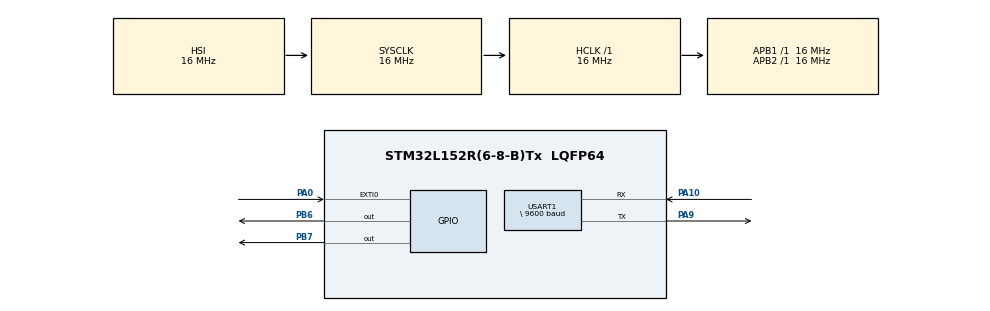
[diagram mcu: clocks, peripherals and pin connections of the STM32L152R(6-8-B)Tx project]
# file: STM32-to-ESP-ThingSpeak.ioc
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ADC.Channel-1\#ChannelRegularConversion=ADC_CHANNEL_TEMPSENSOR
ADC.ClockPrescaler=ADC_CLOCK_ASYNC_DIV2
ADC.ContinuousConvMode=DISABLE
ADC.EOCSelection=ADC_EOC_SINGLE_CONV
ADC.ExternalTrigConv=ADC_SOFTWARE_START
ADC.NbrOfConversion=1
ADC.NbrOfConversionFlag=1
ADC.Rank-1\#ChannelRegularConversion=1
ADC.SamplingTime-1\#ChannelRegularConversion=ADC_SAMPLETIME_192CYCLES
ADC.ScanConvMode=ADC_SCAN_DISABLE
Dma.ADC.0.Direction=DMA_PERIPH_TO_MEMORY
Dma.ADC.0.Instance=DMA1_Channel1
Dma.ADC.0.MemDataAlignment=DMA_MDATAALIGN_WORD
Dma.ADC.0.MemInc=DMA_MINC_ENABLE
Dma.ADC.0.Mode=DMA_NORMAL
Dma.ADC.0.PeriphDataAlignment=DMA_PDATAALIGN_WORD
Dma.ADC.0.PeriphInc=DMA_PINC_DISABLE
Dma.ADC.0.Priority=DMA_PRIORITY_LOW
Dma.Request0=ADC
Dma.Request1=USART1_TX
Dma.USART1_TX.1.Direction=DMA_MEMORY_TO_PERIPH
Dma.USART1_TX.1.Instance=DMA1_Channel4
Dma.USART1_TX.1.MemDataAlignment=DMA_MDATAALIGN_BYTE
Dma.USART1_TX.1.MemInc=DMA_MINC_ENABLE
Dma.USART1_TX.1.Mode=DMA_NORMAL
Dma.USART1_TX.1.PeriphDataAlignment=DMA_PDATAALIGN_BYTE
Dma.USART1_TX.1.PeriphInc=DMA_PINC_DISABLE
Dma.USART1_TX.1.Priority=DMA_PRIORITY_LOW
Mcu.Family=STM32L1
Mcu.Name=STM32L152R(6-8-B)Tx
Mcu.Package=LQFP64
NVIC.ADC1_IRQn=true\:0\:0\:true\:false\:true\:true\:true\:true
NVIC.DMA1_Channel1_IRQn=true\:0\:0\:false\:false\:true\:false\:true\:true
NVIC.DMA1_Channel4_IRQn=true\:0\:0\:false\:false\:true\:false\:true\:true
NVIC.EXTI0_IRQn=true\:0\:0\:true\:false\:true\:true\:true\:true
NVIC.PriorityGroup=NVIC_PRIORITYGROUP_0
NVIC.TIM6_IRQn=true\:0\:0\:false\:false\:true\:true\:true\:true
NVIC.USART1_IRQn=true\:0\:0\:true\:false\:true\:true\:true\:true
PA0-WKUP1.GPIO_PuPd=GPIO_NOPULL
PA0-WKUP1.Signal=GPXTI0
PA10.GPIO_PuPd=GPIO_PULLUP
PA10.Mode=Asynchronous
PA10.Signal=USART1_RX
PA9.GPIO_PuPd=GPIO_PULLUP
PA9.Mode=Asynchronous
PA9.Signal=USART1_TX
PB6.GPIO_PuPd=GPIO_NOPULL
PB6.Signal=GPIO_Output
PB7.Signal=GPIO_Output
ProjectManager.HeapSize=0x200
ProjectManager.StackSize=0x400
ProjectManager.TargetToolchain=STM32CubeIDE
RCC.48MHZClocksFreq_Value=24000000
RCC.AHBFreq_Value=16000000
RCC.APB1Freq_Value=16000000
RCC.APB1TimFreq_Value=16000000
RCC.APB2Freq_Value=16000000
RCC.APB2TimFreq_Value=16000000
RCC.HCLKFreq_Value=16000000
RCC.HSE_VALUE=8000000
RCC.HSI_VALUE=16000000
RCC.LSE_VALUE=32768
RCC.MSI_VALUE=2097000
RCC.PLLDIV=RCC_PLL_DIV3
RCC.RTCClockSelectionVirtual=RCC_RTCCLKSOURCE_LSE
RCC.SYSCLKFreq_VALUE=16000000
RCC.SYSCLKSource=RCC_SYSCLKSOURCE_HSI
RCC.USBOutput=48000000
RCC.VCOOutputFreq_Value=48000000
TIM6.AutoReloadPreload=TIM_AUTORELOAD_PRELOAD_ENABLE
TIM6.Period=42652
TIM6.Prescaler=3000
TIM6.TIM_MasterOutputTrigger=TIM_TRGO_UPDATE
USART1.BaudRate=\ 9600
USART1.Mode=MODE_TX
USART1.OverSampling=UART_OVERSAMPLING_8
USART1.VirtualMode=VM_ASYNC
USART1.WordLength=WORDLENGTH_8B
VP_ADC_TempSens_Input.Mode=IN-TempSens
VP_TIM6_VS_ClockSourceINT.Mode=Enable_Timer
board=STM32L-DISCOVERY

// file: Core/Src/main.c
/* USER CODE BEGIN Header */
/**
  ******************************************************************************
  * @file           : main.c
  * @brief          : Main program body
  ******************************************************************************
  * @attention
  *
  * Copyright (c) 2024 STMicroelectronics.
  * All rights reserved.
  *
  * This software is licensed under terms that can be found in the LICENSE file
  * in the root directory of this software component.
  * If no LICENSE file comes with this software, it is provided AS-IS.
  *
  ******************************************************************************
  */
/* USER CODE END Header */
#include "main.h"
#include "adc.h"
#include "dma.h"
#include "tim.h"
#include "usart.h"
#include "gpio.h"

/* USER CODE BEGIN PM */

#define ADC_BUFFER_SIZE 1
/* USER CODE END PM */

void SystemClock_Config(void);

/* USER CODE BEGIN 0 */

uint8_t Buffer_ADC[ADC_BUFFER_SIZE] ;
uint8_t isSent=1 ;

char temperatureStr[20];
/* USER CODE END 0 */

int main(void)
{

  /* MCU Configuration--------------------------------------------------------*/

  /* Reset of all peripherals, Initializes the Flash interface and the Systick. */
  HAL_Init();

  /* Configure the system clock */
  SystemClock_Config();

  /* Initialize all configured peripherals */
  MX_GPIO_Init();
  MX_DMA_Init();
  MX_ADC_Init();
  MX_USART1_UART_Init();
  MX_TIM6_Init();
  /* USER CODE BEGIN 2 */

  HAL_TIM_Base_Start_IT(&htim6);

  /* USER CODE END 2 */

  /* Infinite loop */
  while (1)
  {

  }
}

void SystemClock_Config(void)
{
  RCC_OscInitTypeDef RCC_OscInitStruct = {0};
  RCC_ClkInitTypeDef RCC_ClkInitStruct = {0};

  /** Configure the main internal regulator output voltage
  */
  __HAL_PWR_VOLTAGESCALING_CONFIG(PWR_REGULATOR_VOLTAGE_SCALE1);

  /** Initializes the RCC Oscillators according to the specified parameters
  * in the RCC_OscInitTypeDef structure.
  */
  RCC_OscInitStruct.OscillatorType = RCC_OSCILLATORTYPE_HSI;
  RCC_OscInitStruct.HSIState = RCC_HSI_ON;
  RCC_OscInitStruct.HSICalibrationValue = RCC_HSICALIBRATION_DEFAULT;
  RCC_OscInitStruct.PLL.PLLState = RCC_PLL_NONE;
  if (HAL_RCC_OscConfig(&RCC_OscInitStruct) != HAL_OK)
  {
    Error_Handler();
  }

  /** Initializes the CPU, AHB and APB buses clocks
  */
  RCC_ClkInitStruct.ClockType = RCC_CLOCKTYPE_HCLK|RCC_CLOCKTYPE_SYSCLK
                              |RCC_CLOCKTYPE_PCLK1|RCC_CLOCKTYPE_PCLK2;
  RCC_ClkInitStruct.SYSCLKSource = RCC_SYSCLKSOURCE_HSI;
  RCC_ClkInitStruct.AHBCLKDivider = RCC_SYSCLK_DIV1;
  RCC_ClkInitStruct.APB1CLKDivider = RCC_HCLK_DIV1;
  RCC_ClkInitStruct.APB2CLKDivider = RCC_HCLK_DIV1;

  if (HAL_RCC_ClockConfig(&RCC_ClkInitStruct, FLASH_LATENCY_0) != HAL_OK)
  {
    Error_Handler();
  }
}

/* USER CODE BEGIN 4 */
void HAL_UART_TxCpltCallback(UART_HandleTypeDef *huart)
{
	isSent=1 ;

}

void HAL_ADC_ConvCpltCallback(ADC_HandleTypeDef* hadc) {
    if (hadc->Instance == ADC1) {
    HAL_GPIO_TogglePin(GPIOB, GPIO_PIN_6) ;

    while(isSent==1){

    	Buffer_ADC[0]= HAL_ADC_GetValue(hadc);
     int temperature = (((Buffer_ADC[0] * 3.3) / 4096.0) * 100.0 )+13 ;
     sprintf(temperatureStr, "%d \n", temperature);
    if (HAL_UART_Transmit_DMA(&huart1,(uint8_t*)temperatureStr,sizeof(temperature))!= HAL_OK){
    		 	  Error_Handler();
    }
    isSent=0 ;

    }

}
}
void HAL_TIM_PeriodElapsedCallback(TIM_HandleTypeDef *htim) {
	if( htim->Instance == TIM6) {
       HAL_GPIO_TogglePin(GPIOB, GPIO_PIN_7);
    if(HAL_ADC_Start_IT(&hadc)!= HAL_OK)
		      {
		       Error_Handler();
		      }
		    }
		  }

void HAL_GPIO_EXTI_Callback(uint16_t GPIO_Pin){
   if (GPIO_Pin==GPIO_PIN_0){

   if(HAL_ADC_Start_IT(&hadc)!= HAL_OK)
     {
      Error_Handler();
     }
   }
 }

/* USER CODE END 4 */

void Error_Handler(void)
{
  __disable_irq();
  while (1)
  {
  }
}
